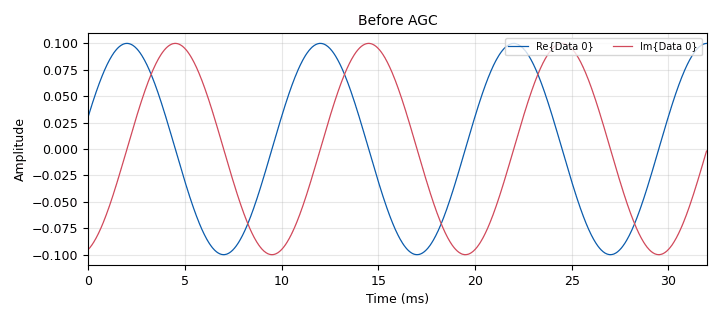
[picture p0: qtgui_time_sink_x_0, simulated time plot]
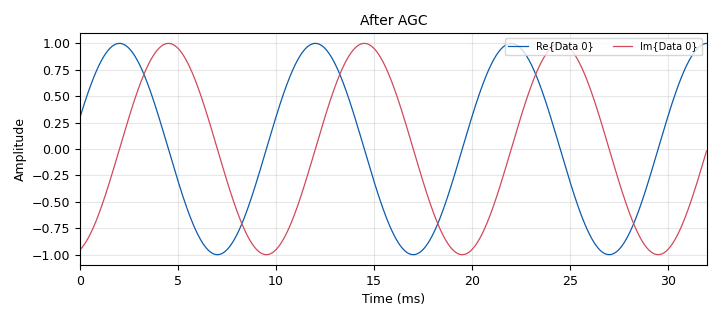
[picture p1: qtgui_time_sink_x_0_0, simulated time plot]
<?xml version='1.0' encoding='utf-8'?>
<?grc format='1' created='3.7.10'?>
<flow_graph>
<block>
<key>options</key>
<param><key>id</key><value>agc_example</value></param>
<param><key>author</key><value>Alexandros-Apostolos A. Boulogeorgos</value></param>
<param><key>generate_options</key><value>qt_gui</value></param>
<param><key>title</key><value>AGC example</value></param>
</block>
<block>
<key>variable_qtgui_range</key>
<param><key>id</key><value>agcRef</value></param>
<param><key>value</key><value>1</value></param>
<param><key>gui_hint</key><value>0,1,1,1</value></param>
<param><key>label</key><value>AGC reference</value></param>
<param><key>orient</key><value>Qt.Horizontal</value></param>
<param><key>start</key><value>0.1</value></param>
<param><key>step</key><value>0.1</value></param>
<param><key>stop</key><value>10</value></param>
</block>
<block>
<key>variable_qtgui_range</key>
<param><key>id</key><value>gain</value></param>
<param><key>value</key><value>1</value></param>
<param><key>gui_hint</key><value>0,2,1,1</value></param>
<param><key>label</key><value>AGC gain</value></param>
<param><key>orient</key><value>Qt.Horizontal</value></param>
<param><key>start</key><value>0.1</value></param>
<param><key>step</key><value>0.1</value></param>
<param><key>stop</key><value>10</value></param>
</block>
<block>
<key>variable_qtgui_range</key>
<param><key>id</key><value>rate</value></param>
<param><key>value</key><value>0.1</value></param>
<param><key>gui_hint</key><value>0,0,1,1</value></param>
<param><key>label</key><value>AGC rate</value></param>
<param><key>orient</key><value>Qt.Horizontal</value></param>
<param><key>start</key><value>0.01</value></param>
<param><key>step</key><value>0.01</value></param>
<param><key>stop</key><value>1</value></param>
</block>
<block>
<key>variable</key>
<param><key>id</key><value>samp_rate</value></param>
<param><key>value</key><value>32000</value></param>
</block>
<block>
<key>analog_agc_xx</key>
<param><key>id</key><value>analog_agc_xx_0</value></param>
<param><key>gain</key><value>gain</value></param>
<param><key>max_gain</key><value>65536</value></param>
<param><key>rate</key><value>rate</value></param>
<param><key>reference</key><value>agcRef</value></param>
<param><key>type</key><value>complex</value></param>
</block>
<block>
<key>analog_sig_source_x</key>
<param><key>id</key><value>analog_sig_source_x_0</value></param>
<param><key>amp</key><value>0.1</value></param>
<param><key>freq</key><value>100</value></param>
<param><key>offset</key><value>0</value></param>
<param><key>type</key><value>complex</value></param>
<param><key>samp_rate</key><value>samp_rate</value></param>
<param><key>waveform</key><value>analog.GR_COS_WAVE</value></param>
</block>
<block>
<key>qtgui_time_sink_x</key>
<param><key>id</key><value>qtgui_time_sink_x_0</value></param>
<param><key>autoscale</key><value>True</value></param>
<param><key>gui_hint</key><value>1,0,1,1</value></param>
<param><key>color1</key><value>"blue"</value></param>
<param><key>label1</key><value></value></param>
<param><key>color2</key><value>"red"</value></param>
<param><key>label2</key><value></value></param>
<param><key>name</key><value>"Before AGC"</value></param>
<param><key>size</key><value>1024</value></param>
<param><key>srate</key><value>samp_rate</value></param>
<param><key>type</key><value>complex</value></param>
</block>
<block>
<key>qtgui_time_sink_x</key>
<param><key>id</key><value>qtgui_time_sink_x_0_0</value></param>
<param><key>autoscale</key><value>True</value></param>
<param><key>gui_hint</key><value>1,1,1,1</value></param>
<param><key>color1</key><value>"blue"</value></param>
<param><key>label1</key><value></value></param>
<param><key>color2</key><value>"red"</value></param>
<param><key>label2</key><value></value></param>
<param><key>name</key><value>"After AGC"</value></param>
<param><key>size</key><value>1024</value></param>
<param><key>srate</key><value>samp_rate</value></param>
<param><key>type</key><value>complex</value></param>
</block>
<connection><source_block_id>analog_agc_xx_0</source_block_id><sink_block_id>qtgui_time_sink_x_0_0</sink_block_id><source_key>0</source_key><sink_key>0</sink_key></connection>
<connection><source_block_id>analog_sig_source_x_0</source_block_id><sink_block_id>analog_agc_xx_0</sink_block_id><source_key>0</source_key><sink_key>0</sink_key></connection>
<connection><source_block_id>analog_sig_source_x_0</source_block_id><sink_block_id>qtgui_time_sink_x_0</sink_block_id><source_key>0</source_key><sink_key>0</sink_key></connection>
</flow_graph>
